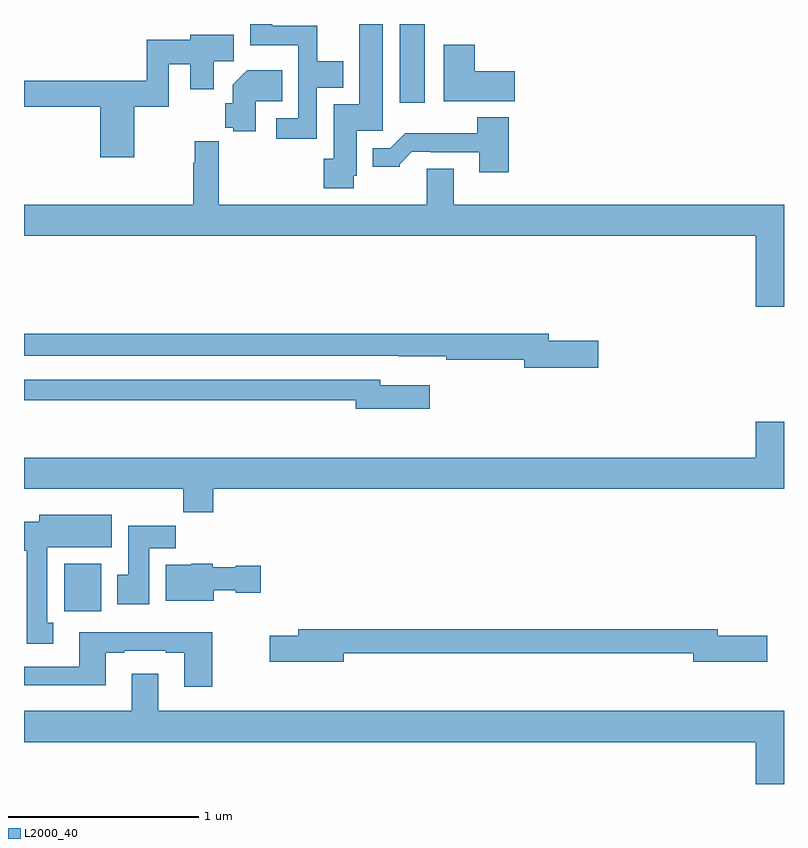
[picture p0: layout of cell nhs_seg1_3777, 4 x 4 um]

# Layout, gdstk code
import gdstk
lib = gdstk.Library(unit=1e-6, precision=1e-09)
def R(c, l, rs):  # rectangles x0, y0, x1, y1
    for r in rs: c.add(gdstk.rectangle(r[:2], r[2:], *l))
def P(c, l, *ps):  # polygons
    for p in ps: c.add(gdstk.Polygon(p, *l))
L2000_40 = (2000, 40)

nhs_seg1_3777 = lib.new_cell('nhs_seg1_3777')
R(nhs_seg1_3777, L2000_40, [(317.211,531.108,317.407,531.358), (318.977,533.784,319.108,534.199)])
P(nhs_seg1_3777, L2000_40, [(318.735,533.4),(318.751,533.4),(318.751,533.637),(318.889,533.637),(318.889,534.199),(318.764,534.199),(318.764,533.776),(318.629,533.776),(318.629,533.49),(318.578,533.49),(318.578,533.334),(318.735,533.334)],
  [(318.54,533.864),(318.679,533.864),(318.679,534.004),(318.543,534.004),(318.543,534.19),(318.307,534.19),(318.307,534.199),(318.191,534.199),(318.191,534.086),(318.444,534.086),(318.444,533.703),(318.327,533.703),(318.327,533.595),(318.54,533.595)],
  [(317.58,533.764),(317.763,533.764),(317.763,533.986),(317.876,533.986),(317.876,533.856),(317.998,533.856),(317.998,534.004),(318.103,534.004),(318.103,534.142),(317.876,534.142),(317.876,534.115),(317.647,534.115),(317.647,533.9),(317,533.9),(317,533.764),(317.402,533.764),(317.402,533.499),(317.58,533.499)],
  [(319.582,533.95),(319.372,533.95),(319.372,534.091),(319.208,534.091),(319.208,533.792),(319.582,533.792)],
  [(318.22,533.792),(318.359,533.792),(318.359,533.956),(318.176,533.956),(318.098,533.878),(318.098,533.782),(318.06,533.782),(318.06,533.654),(318.102,533.654),(318.102,533.635),(318.22,533.635)],
  [(319.55,533.707),(319.385,533.707),(319.385,533.623),(319.006,533.623),(318.927,533.544),(318.836,533.544),(318.836,533.447),(318.978,533.447),(318.978,533.462),(319.042,533.526),(319.141,533.526),(319.141,533.523),(319.397,533.523),(319.397,533.418),(319.55,533.418)],
  [(321,533.248),(319.261,533.248),(319.261,533.438),(319.121,533.438),(319.121,533.248),(318.026,533.248),(318.026,533.468),(318.025,533.468),(318.025,533.581),(317.898,533.581),(317.898,533.468),(317.89,533.468),(317.89,533.248),(317,533.248),(317,533.084),(320.852,533.084),(320.852,532.71),(321,532.71)],
  [(320.023,532.532),(319.762,532.532),(319.762,532.568),(317,532.568),(317,532.452),(318.97,532.452),(318.97,532.451),(319.222,532.451),(319.222,532.432),(319.634,532.432),(319.634,532.39),(320.023,532.39)],
  [(319.135,532.297),(318.874,532.297),(318.874,532.326),(317,532.326),(317,532.218),(318.746,532.218),(318.746,532.175),(319.135,532.175)],
  [(317.996,531.752),(321,531.752),(321,532.105),(320.852,532.105),(320.852,531.916),(317,531.916),(317,531.752),(317.839,531.752),(317.839,531.628),(317.996,531.628)],
  [(317.155,531.049),(317.122,531.049),(317.122,531.446),(317.461,531.446),(317.461,531.616),(317.081,531.616),(317.081,531.58),(317,531.58),(317,531.426),(317.015,531.426),(317.015,530.937),(317.155,530.937)],
  [(317.659,531.44),(317.798,531.44),(317.798,531.558),(317.549,531.558),(317.549,531.3),(317.492,531.3),(317.492,531.144),(317.659,531.144)],
  [(317.998,531.218),(318.114,531.218),(318.114,531.206),(318.247,531.206),(318.247,531.348),(318.114,531.348),(318.114,531.34),(317.994,531.34),(317.994,531.358),(317.88,531.358),(317.88,531.352),(317.747,531.352),(317.747,531.164),(317.998,531.164)],
  [(318.682,530.886),(320.522,530.886),(320.522,530.843),(320.911,530.843),(320.911,530.978),(320.65,530.978),(320.65,531.014),(318.443,531.014),(318.443,530.978),(318.294,530.978),(318.294,530.843),(318.682,530.843)],
  [(317.991,530.998),(317.291,530.998),(317.291,530.817),(317,530.817),(317,530.72),(317.431,530.72),(317.431,530.889),(317.527,530.889),(317.527,530.901),(317.747,530.901),(317.747,530.889),(317.843,530.889),(317.843,530.712),(317.991,530.712)],
  [(321,530.584),(317.707,530.584),(317.707,530.779),(317.567,530.779),(317.567,530.584),(317,530.584),(317,530.42),(320.852,530.42),(320.852,530.199),(321,530.199)])

lib.write_gds('nhs_seg1_3777.gds')
